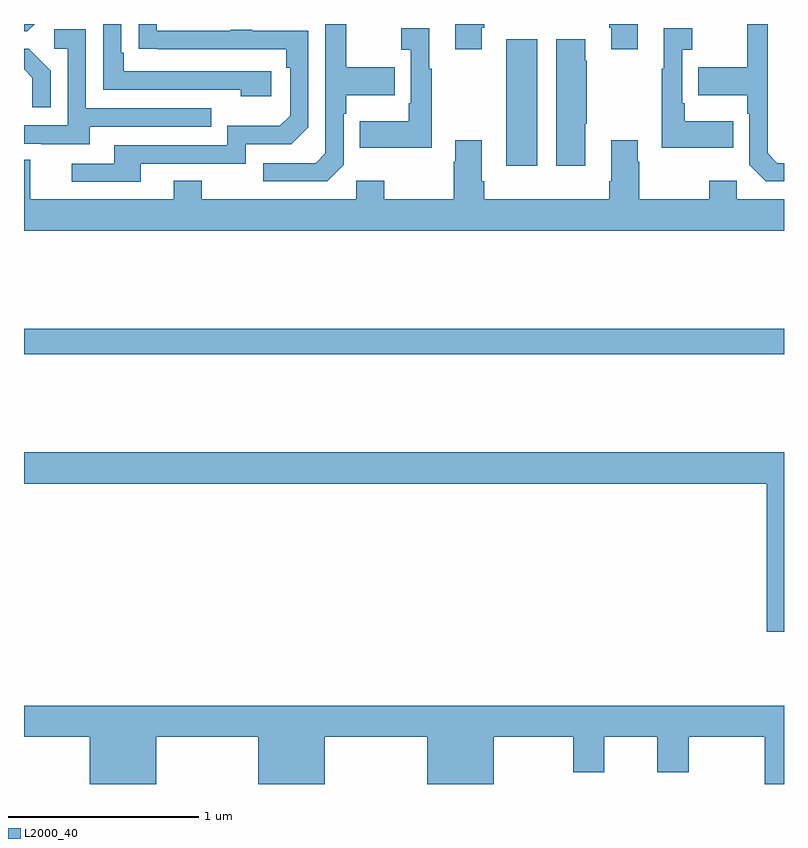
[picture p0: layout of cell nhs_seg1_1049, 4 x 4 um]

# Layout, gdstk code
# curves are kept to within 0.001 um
import gdstk
lib = gdstk.Library(unit=1e-6, precision=1e-09)
def R(c, l, rs):  # rectangles x0, y0, x1, y1
    for r in rs: c.add(gdstk.rectangle(r[:2], r[2:], *l))
def P(c, l, *ps):  # polygons
    for p in ps: c.add(gdstk.Polygon(p, *l))
L2000_40 = (2000, 40)

nhs_seg1_1049 = lib.new_cell('nhs_seg1_1049')
R(nhs_seg1_1049, L2000_40, [(169,504.46,173,504.596), (171.539,505.452,171.7,506.119)])
P(nhs_seg1_1049, L2000_40, [(170.302,505.95),(169.525,505.95),(169.525,506.047),(169.512,506.047),(169.512,506.199),(169.416,506.199),(169.416,505.854),(170.141,505.854),(170.141,505.82),(170.302,505.82)],
  [(170.682,505.458),(170.682,505.727),(170.695,505.727),(170.695,505.823),(170.951,505.823),(170.951,505.971),(170.695,505.971),(170.695,506.199),(170.586,506.199),(170.586,505.518),(170.535,505.467),(170.259,505.467),(170.259,505.371),(170.595,505.371)],
  [(173,505.467),(172.965,505.467),(172.914,505.518),(172.914,506.199),(172.806,506.199),(172.806,505.971),(172.549,505.971),(172.549,505.823),(172.806,505.823),(172.806,505.727),(172.818,505.727),(172.818,505.458),(172.905,505.371),(173,505.371)],
  [(169.615,505.464),(170.166,505.464),(170.166,505.566),(170.406,505.566),(170.496,505.656),(170.496,506.163),(170.201,506.163),(170.201,506.168),(170.089,506.168),(170.089,506.163),(169.699,506.163),(169.699,506.199),(169.603,506.199),(169.603,506.068),(170.38,506.067),(170.38,505.97),(170.4,505.97),(170.4,505.716),(170.347,505.663),(170.07,505.663),(170.07,505.56),(169.475,505.56),(169.475,505.464),(169.251,505.464),(169.251,505.368),(169.615,505.368)],
  [(171.409,506.179),(171.422,506.179),(171.422,506.199),(171.269,506.199),(171.269,506.067),(171.409,506.067)],
  [(169.056,506.199),(169,506.199),(169,506.16),(169.017,506.16)],
  [(172.231,506.199),(172.079,506.199),(172.079,506.179),(172.091,506.179),(172.091,506.067),(172.231,506.067)],
  [(172.733,505.687),(172.477,505.687),(172.477,505.783),(172.464,505.783),(172.464,506.063),(172.516,506.063),(172.516,506.176),(172.367,506.176),(172.367,505.963),(172.356,505.963),(172.356,505.547),(172.733,505.547)],
  [(171.145,505.963),(171.133,505.963),(171.133,506.176),(170.985,506.176),(170.985,506.063),(171.036,506.063),(171.036,505.783),(171.024,505.783),(171.024,505.687),(170.767,505.687),(170.767,505.547),(171.145,505.547)],
  [(169.345,505.659),(169.985,505.659),(169.985,505.755),(169.326,505.755),(169.326,506.171),(169.158,506.171),(169.158,506.07),(169.23,506.07),(169.23,505.665),(169,505.665),(169,505.569),(169.091,505.569),(169.091,505.565),(169.345,505.565)],
  [(171.955,505.675),(171.963,505.675),(171.963,506.006),(171.955,506.006),(171.955,506.119),(171.8,506.119),(171.8,505.452),(171.955,505.452)],
  [(169.14,505.954),(169.024,506.07),(169,506.07),(169,505.96),(169.043,505.917),(169.043,505.761),(169.14,505.761)],
  [(173,505.276),(172.752,505.276),(172.752,505.375),(172.606,505.375),(172.606,505.276),(172.239,505.276),(172.239,505.475),(172.231,505.475),(172.231,505.588),(172.091,505.588),(172.091,505.372),(172.079,505.372),(172.079,505.276),(171.422,505.276),(171.422,505.372),(171.409,505.372),(171.409,505.588),(171.269,505.588),(171.269,505.475),(171.262,505.475),(171.262,505.276),(170.895,505.276),(170.895,505.375),(170.748,505.375),(170.748,505.276),(169.935,505.276),(169.935,505.375),(169.787,505.375),(169.787,505.276),(169.033,505.276),(169.033,505.484),(169,505.484),(169,505.112),(173,505.112)],
  [(173,503.944),(169,503.944),(169,503.78),(172.91,503.78),(172.91,503.001),(173,503.001)],
  [(169,502.448),(169.346,502.448),(169.346,502.199),(169.696,502.199),(169.696,502.448),(170.234,502.448),(170.234,502.199),(170.584,502.199),(170.584,502.448),(171.122,502.448),(171.122,502.199),(171.472,502.199),(171.472,502.448),(171.89,502.448),(171.89,502.26),(172.054,502.26),(172.054,502.448),(172.334,502.448),(172.334,502.26),(172.498,502.26),(172.498,502.448),(172.898,502.448),(172.898,502.199),(173,502.199),(173,502.612),(169,502.612)])

lib.write_gds('nhs_seg1_1049.gds')
